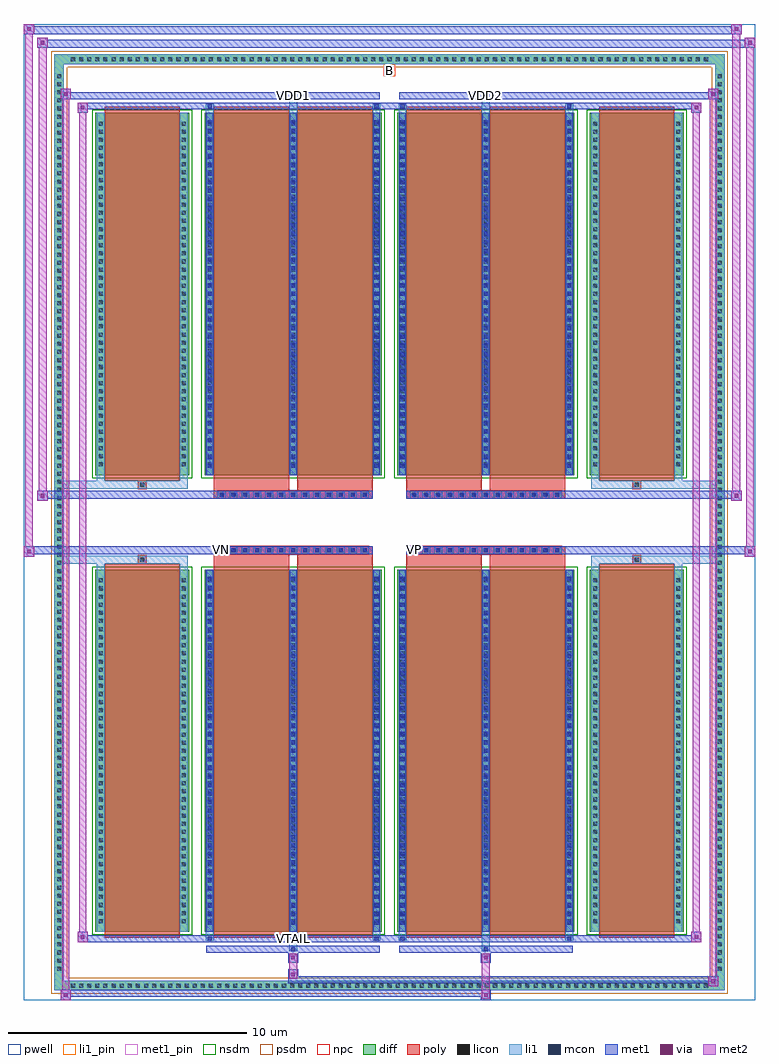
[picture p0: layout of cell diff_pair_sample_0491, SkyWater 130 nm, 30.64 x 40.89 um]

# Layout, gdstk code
import gdstk
lib = gdstk.Library(unit=1e-6, precision=5e-09)
def R(c, l, rs):  # rectangles x0, y0, x1, y1
    for r in rs: c.add(gdstk.rectangle(r[:2], r[2:], *l))
def A(c, l, x, y, w, h, nx, ny, dx, dy):  # array of equal rectangles
    R(c, l, [(x+i*dx, y+j*dy, x+i*dx+w, y+j*dy+h) for i in range(nx) for j in range(ny)])
def P(c, l, *ps):  # polygons
    for p in ps: c.add(gdstk.Polygon(p, *l))
pwell = (64, 44)
diff = (65, 20)
poly = (66, 20)
licon = (66, 44)
li1_pin = (67, 16)
li1 = (67, 20)
mcon = (67, 44)
met1_pin = (68, 16)
met1 = (68, 20)
via = (68, 44)
met2 = (69, 20)
nsdm = (93, 44)
psdm = (94, 20)
npc = (95, 20)

diff_pair_sample_0491 = lib.new_cell('diff_pair_sample_0491')
R(diff_pair_sample_0491, pwell, [(-15.32,-20.01,15.32,20.88), (-12.64,-18.2,-0.01,-0.8), (0.01,-18.2,12.64,-0.8), (-12.64,0.8,-0.01,18.2), (0.01,0.8,12.64,18.2)])
A(diff_pair_sample_0491, diff, -13.465, -19.61, 0.41, 0.41, 79, 2, 0.34, 38.81)
A(diff_pair_sample_0491, diff, -14.05, -18.905, 0.41, 0.41, 1, 111, 0, 0.34)
A(diff_pair_sample_0491, diff, 13.64, -18.905, 0.41, 0.41, 1, 111, 0, 0.34)
R(diff_pair_sample_0491, diff, [(-13.465,-19.61,13.465,-19.2), (-14.05,-18.905,-13.64,18.905), (13.64,-18.905,14.05,18.905), (-12.33,-17.155,-8.39,-1.985), (-7.75,-17.155,-0.32,-1.985), (0.32,-17.155,7.75,-1.985), (8.39,-17.155,12.33,-1.985), (-12.33,1.985,-8.39,17.155), (-7.75,1.985,-0.32,17.155), (0.32,1.985,7.75,17.155), (8.39,1.985,12.33,17.155), (-13.465,19.2,13.465,19.61)])
P(diff_pair_sample_0491, diff, [(14.05,19.61),(-14.05,19.61),(-14.05,-19.2),(-13.64,-19.2),(-13.64,19.2),(13.64,19.2),(13.64,-19.2),(-13.64,-19.2),(-14.05,-19.2),(-14.05,-19.61),(14.05,-19.61)])
A(diff_pair_sample_0491, poly, -7.2, -1.33, 0.33, 0.33, 13, 2, 0.5, 2.33)
A(diff_pair_sample_0491, poly, 0.87, -1.33, 0.33, 0.33, 13, 2, 0.5, 2.33)
R(diff_pair_sample_0491, poly, [(-11.94,-17.405,-8.78,-1.735), (-7.36,-17.405,-4.2,-1.735), (-3.87,-17.405,-0.71,-1.735), (0.71,-17.405,3.87,-1.735), (4.2,-17.405,7.36,-1.735), (8.78,-17.405,11.94,-1.735), (-10.525,-1.735,-10.195,-1.405), (-10.525,-1.735,-10.195,-1.405), (-7.36,-1.735,-4.2,-1.33), (-3.87,-1.735,-0.71,-1.33), (0.71,-1.735,3.87,-1.33), (4.2,-1.735,7.36,-1.33), (10.195,-1.735,10.525,-1.405), (10.195,-1.735,10.525,-1.405), (-7.36,-1.33,-0.71,-1), (0.71,-1.33,7.36,-1), (-7.36,1,-0.71,1.33), (0.71,1,7.36,1.33), (-7.36,1.33,-4.2,1.735), (-3.87,1.33,-0.71,1.735), (0.71,1.33,3.87,1.735), (4.2,1.33,7.36,1.735), (-10.525,1.405,-10.195,1.735), (-10.525,1.405,-10.195,1.735), (10.195,1.405,10.525,1.735), (10.195,1.405,10.525,1.735), (-11.94,1.735,-8.78,17.405), (-7.36,1.735,-4.2,17.405), (-3.87,1.735,-0.71,17.405), (0.71,1.735,3.87,17.405), (4.2,1.735,7.36,17.405), (8.78,1.735,11.94,17.405)])
A(diff_pair_sample_0491, licon, -13.345, -19.49, 0.17, 0.17, 79, 2, 0.34, 38.81)
A(diff_pair_sample_0491, licon, -13.93, -18.785, 0.17, 0.17, 1, 111, 0, 0.34)
A(diff_pair_sample_0491, licon, 13.76, -18.785, 0.17, 0.17, 1, 111, 0, 0.34)
A(diff_pair_sample_0491, licon, -12.19, -16.795, 0.17, 0.17, 1, 43, 0, 0.34)
A(diff_pair_sample_0491, licon, -8.7, -16.795, 0.17, 0.17, 1, 43, 0, 0.34)
A(diff_pair_sample_0491, licon, -7.61, -16.795, 0.17, 0.17, 3, 43, 3.49, 0.34)
A(diff_pair_sample_0491, licon, 0.46, -16.795, 0.17, 0.17, 3, 43, 3.49, 0.34)
A(diff_pair_sample_0491, licon, 8.53, -16.795, 0.17, 0.17, 1, 43, 0, 0.34)
A(diff_pair_sample_0491, licon, 12.02, -16.795, 0.17, 0.17, 1, 43, 0, 0.34)
A(diff_pair_sample_0491, licon, -7.12, -1.25, 0.17, 0.17, 13, 2, 0.5, 2.33)
A(diff_pair_sample_0491, licon, 0.95, -1.25, 0.17, 0.17, 13, 2, 0.5, 2.33)
A(diff_pair_sample_0491, licon, -12.19, 2.345, 0.17, 0.17, 1, 43, 0, 0.34)
A(diff_pair_sample_0491, licon, -8.7, 2.345, 0.17, 0.17, 1, 43, 0, 0.34)
A(diff_pair_sample_0491, licon, -7.61, 2.345, 0.17, 0.17, 3, 43, 3.49, 0.34)
A(diff_pair_sample_0491, licon, 0.46, 2.345, 0.17, 0.17, 3, 43, 3.49, 0.34)
A(diff_pair_sample_0491, licon, 8.53, 2.345, 0.17, 0.17, 1, 43, 0, 0.34)
A(diff_pair_sample_0491, licon, 12.02, 2.345, 0.17, 0.17, 1, 43, 0, 0.34)
R(diff_pair_sample_0491, licon, [(-10.445,-1.655,-10.275,-1.485), (10.275,-1.655,10.445,-1.485), (-10.445,1.485,-10.275,1.655), (10.275,1.485,10.445,1.655)])
R(diff_pair_sample_0491, li1_pin, [(-0.25,18.7,0.25,19.2)])
A(diff_pair_sample_0491, li1, -13.425, -19.57, 0.33, 0.33, 79, 2, 0.34, 38.81)
A(diff_pair_sample_0491, li1, -14.01, -18.865, 0.33, 0.33, 1, 111, 0, 0.34)
A(diff_pair_sample_0491, li1, 13.68, -18.865, 0.33, 0.33, 1, 111, 0, 0.34)
A(diff_pair_sample_0491, li1, -7.69, -17.155, 0.33, 15.17, 3, 2, 3.49, 19.14)
A(diff_pair_sample_0491, li1, 0.38, -17.155, 0.33, 15.17, 3, 2, 3.49, 19.14)
A(diff_pair_sample_0491, li1, -12.27, -16.875, 0.33, 0.33, 1, 43, 0, 0.34)
A(diff_pair_sample_0491, li1, -8.78, -16.875, 0.33, 0.33, 1, 43, 0, 0.34)
A(diff_pair_sample_0491, li1, -7.69, -16.875, 0.33, 0.33, 3, 43, 3.49, 0.34)
A(diff_pair_sample_0491, li1, 0.38, -16.875, 0.33, 0.33, 3, 43, 3.49, 0.34)
A(diff_pair_sample_0491, li1, 8.45, -16.875, 0.33, 0.33, 1, 43, 0, 0.34)
A(diff_pair_sample_0491, li1, 11.94, -16.875, 0.33, 0.33, 1, 43, 0, 0.34)
A(diff_pair_sample_0491, li1, -7.61, -16.855, 0.17, 0.17, 3, 41, 3.49, 0.36)
A(diff_pair_sample_0491, li1, -7.61, -16.855, 0.17, 14.57, 3, 2, 3.49, 19.14)
A(diff_pair_sample_0491, li1, 0.46, -16.855, 0.17, 0.17, 3, 41, 3.49, 0.36)
A(diff_pair_sample_0491, li1, 0.46, -16.855, 0.17, 14.57, 3, 2, 3.49, 19.14)
A(diff_pair_sample_0491, li1, -7.2, -1.33, 0.33, 0.33, 13, 2, 0.5, 2.33)
A(diff_pair_sample_0491, li1, 0.87, -1.33, 0.33, 0.33, 13, 2, 0.5, 2.33)
A(diff_pair_sample_0491, li1, -12.27, 2.265, 0.33, 0.33, 1, 43, 0, 0.34)
A(diff_pair_sample_0491, li1, -8.78, 2.265, 0.33, 0.33, 1, 43, 0, 0.34)
A(diff_pair_sample_0491, li1, -7.69, 2.265, 0.33, 0.33, 3, 43, 3.49, 0.34)
A(diff_pair_sample_0491, li1, 0.38, 2.265, 0.33, 0.33, 3, 43, 3.49, 0.34)
A(diff_pair_sample_0491, li1, 8.45, 2.265, 0.33, 0.33, 1, 43, 0, 0.34)
A(diff_pair_sample_0491, li1, 11.94, 2.265, 0.33, 0.33, 1, 43, 0, 0.34)
A(diff_pair_sample_0491, li1, -7.61, 2.285, 0.17, 0.17, 3, 41, 3.49, 0.36)
A(diff_pair_sample_0491, li1, 0.46, 2.285, 0.17, 0.17, 3, 41, 3.49, 0.36)
R(diff_pair_sample_0491, li1, [(-14.05,-19.61,-13.64,-19.2), (-14.05,-19.61,-13.64,-19.2), (-13.64,-19.61,13.64,-19.2), (13.64,-19.61,14.05,-19.2), (13.64,-19.61,14.05,-19.2), (-14.05,-19.2,-13.64,19.2), (13.64,-19.2,14.05,19.2), (-4.2,-17.96,-3.87,-17.155), (-4.12,-17.96,-3.95,-17.79), (3.87,-17.96,4.2,-17.155), (3.95,-17.96,4.12,-17.79), (-7.69,-17.53,-7.36,-17.155), (-7.61,-17.53,-7.44,-17.36), (-0.71,-17.53,-0.38,-17.155), (-0.63,-17.53,-0.46,-17.36), (0.38,-17.53,0.71,-17.155), (0.46,-17.53,0.63,-17.36), (7.36,-17.53,7.69,-17.155), (7.44,-17.53,7.61,-17.36), (-12.27,-17.155,-11.94,-1.985), (-8.78,-17.155,-8.45,-1.985), (8.45,-17.155,8.78,-1.985), (11.94,-17.155,12.27,-1.985), (-12.27,-1.985,-11.94,-1.405), (-8.78,-1.985,-8.45,-1.405), (8.45,-1.985,8.78,-1.405), (11.94,-1.985,12.27,-1.405), (-14.05,-1.735,-10.525,-1.405), (-12.27,-1.735,-10.525,-1.405), (-10.525,-1.735,-10.195,-1.405), (-10.195,-1.735,-8.45,-1.405), (8.45,-1.735,10.195,-1.405), (10.195,-1.735,10.525,-1.405), (10.195,-1.735,14.05,-1.405), (10.525,-1.735,12.27,-1.405), (-14.05,1.405,-10.525,1.735), (-12.27,1.405,-10.525,1.735), (-12.27,1.405,-11.94,1.985), (-10.525,1.405,-10.195,1.735), (-10.195,1.405,-8.45,1.735), (-8.78,1.405,-8.45,1.985), (8.45,1.405,10.195,1.735), (8.45,1.405,8.78,1.985), (10.195,1.405,10.525,1.735), (10.195,1.405,14.05,1.735), (10.525,1.405,12.27,1.735), (11.94,1.405,12.27,1.985), (-12.27,1.985,-11.94,17.155), (-8.78,1.985,-8.45,17.155), (8.45,1.985,8.78,17.155), (11.94,1.985,12.27,17.155), (-7.69,17.155,-7.36,17.53), (-4.2,17.155,-3.87,17.96), (-0.71,17.155,-0.38,17.53), (0.38,17.155,0.71,17.53), (3.87,17.155,4.2,17.96), (7.36,17.155,7.69,17.53), (-7.61,17.36,-7.44,17.53), (-0.63,17.36,-0.46,17.53), (0.46,17.36,0.63,17.53), (7.44,17.36,7.61,17.53), (-4.12,17.79,-3.95,17.96), (3.95,17.79,4.12,17.96), (-14.05,19.2,-13.64,19.61), (-14.05,19.2,-13.64,19.61), (-13.64,19.2,13.64,19.61), (13.64,19.2,14.05,19.61), (13.64,19.2,14.05,19.61)])
A(diff_pair_sample_0491, mcon, -7.61, -16.855, 0.17, 0.17, 3, 41, 3.49, 0.36)
A(diff_pair_sample_0491, mcon, 0.46, -16.855, 0.17, 0.17, 3, 41, 3.49, 0.36)
A(diff_pair_sample_0491, mcon, -7.12, -1.25, 0.17, 0.17, 13, 2, 0.5, 2.33)
A(diff_pair_sample_0491, mcon, 0.95, -1.25, 0.17, 0.17, 13, 2, 0.5, 2.33)
A(diff_pair_sample_0491, mcon, -7.61, 2.285, 0.17, 0.17, 3, 41, 3.49, 0.36)
A(diff_pair_sample_0491, mcon, 0.46, 2.285, 0.17, 0.17, 3, 41, 3.49, 0.36)
R(diff_pair_sample_0491, mcon, [(-4.12,-17.96,-3.95,-17.79), (3.95,-17.96,4.12,-17.79), (-7.61,-17.53,-7.44,-17.36), (-0.63,-17.53,-0.46,-17.36), (0.46,-17.53,0.63,-17.36), (7.44,-17.53,7.61,-17.36), (-7.61,17.36,-7.44,17.53), (-0.63,17.36,-0.46,17.53), (0.46,17.36,0.63,17.53), (7.44,17.36,7.61,17.53), (-4.12,17.79,-3.95,17.96), (3.95,17.79,4.12,17.96)])
R(diff_pair_sample_0491, met1_pin, [(-4.17,-17.57,-3.9,-17.3), (-7.17,-1.29,-6.9,-1.02), (0.9,-1.29,1.17,-1.02), (-4.17,17.75,-3.9,18.02), (3.9,17.75,4.17,18.02)])
A(diff_pair_sample_0491, met1, -7.67, -17.155, 0.29, 15.17, 3, 2, 3.49, 19.14)
A(diff_pair_sample_0491, met1, 0.4, -17.155, 0.29, 15.17, 3, 2, 3.49, 19.14)
A(diff_pair_sample_0491, met1, -7.67, -16.915, 0.29, 0.29, 3, 41, 3.49, 0.36)
A(diff_pair_sample_0491, met1, 0.4, -16.915, 0.29, 0.29, 3, 41, 3.49, 0.36)
A(diff_pair_sample_0491, met1, -7.18, -1.31, 0.29, 0.29, 13, 2, 0.5, 2.33)
A(diff_pair_sample_0491, met1, 0.89, -1.31, 0.29, 0.29, 13, 2, 0.5, 2.33)
A(diff_pair_sample_0491, met1, -7.67, 2.225, 0.29, 0.29, 3, 41, 3.49, 0.36)
A(diff_pair_sample_0491, met1, 0.4, 2.225, 0.29, 0.29, 3, 41, 3.49, 0.36)
R(diff_pair_sample_0491, met1, [(-13.78,-20.01,-13.35,-19.58), (3.82,-20.01,4.25,-19.58), (-13.78,-19.87,4.25,-19.58), (13.35,-19.44,13.78,-19.01), (-4.25,-19.3,13.78,-19.01), (-4.25,-19.16,-3.82,-18.73), (-4.25,-18.45,-3.82,-18.02), (3.82,-18.45,4.25,-18.02), (-7.67,-18.02,-0.4,-17.73), (-4.18,-18.02,-3.89,-17.73), (0.4,-18.02,7.67,-17.73), (3.89,-18.02,4.18,-17.73), (-13.07,-17.59,-12.64,-17.16), (-13.07,-17.59,-7.67,-17.3), (-7.67,-17.59,-7.38,-17.3), (-7.67,-17.59,-0.4,-17.3), (-0.69,-17.59,-0.4,-17.3), (-0.4,-17.59,0.4,-17.3), (0.4,-17.59,0.69,-17.3), (0.4,-17.59,7.67,-17.3), (7.38,-17.59,7.67,-17.3), (7.67,-17.59,13.07,-17.3), (12.64,-17.59,13.07,-17.16), (-15.32,-1.43,-14.89,-1), (14.89,-1.43,15.32,-1), (-15.32,-1.33,-0.71,-1), (-7.36,-1.33,-0.71,-1), (0.71,-1.33,7.36,-1), (0.71,-1.33,15.32,-1), (-14.75,0.9,-14.32,1.33), (14.32,0.9,14.75,1.33), (-14.75,1,-7.36,1.33), (-7.36,1,-0.71,1.33), (0.71,1,7.36,1.33), (7.36,1,14.75,1.33), (-13.07,17.16,-12.64,17.59), (12.64,17.16,13.07,17.59), (-13.07,17.3,-7.67,17.59), (-7.67,17.3,-7.38,17.59), (-7.67,17.3,-0.4,17.59), (-0.69,17.3,-0.4,17.59), (-0.4,17.3,0.4,17.59), (0.4,17.3,0.69,17.59), (0.4,17.3,7.67,17.59), (7.38,17.3,7.67,17.59), (7.67,17.3,13.07,17.59), (-13.78,17.73,-13.35,18.16), (-13.78,17.73,-7.67,18.02), (-7.67,17.73,-0.4,18.02), (-4.18,17.73,-3.89,18.02), (0.4,17.73,7.67,18.02), (3.89,17.73,4.18,18.02), (7.67,17.73,13.78,18.02), (13.35,17.73,13.78,18.16), (-14.75,19.88,-14.32,20.31), (-14.75,19.88,-12.64,20.21), (-12.64,19.88,12.64,20.21), (12.64,19.88,15.32,20.21), (14.89,19.88,15.32,20.31), (-15.32,20.45,-14.89,20.88), (-15.32,20.45,-12.64,20.78), (-12.64,20.45,12.64,20.78), (12.64,20.45,14.75,20.78), (14.32,20.45,14.75,20.88)])
R(diff_pair_sample_0491, via, [(-13.64,-19.87,-13.49,-19.72), (3.96,-19.87,4.11,-19.72), (13.49,-19.3,13.64,-19.15), (-4.11,-19.02,-3.96,-18.87), (-4.11,-18.31,-3.96,-18.16), (3.96,-18.31,4.11,-18.16), (-12.93,-17.45,-12.78,-17.3), (12.78,-17.45,12.93,-17.3), (-15.18,-1.29,-15.03,-1.14), (15.03,-1.29,15.18,-1.14), (-14.61,1.04,-14.46,1.19), (14.46,1.04,14.61,1.19), (-12.93,17.3,-12.78,17.45), (12.78,17.3,12.93,17.45), (-13.64,17.87,-13.49,18.02), (13.49,17.87,13.64,18.02), (-14.61,20.02,-14.46,20.17), (15.03,20.02,15.18,20.17), (-15.18,20.59,-15.03,20.74), (14.46,20.59,14.61,20.74)])
R(diff_pair_sample_0491, met2, [(-13.78,-20.01,-13.35,-19.58), (-13.71,-20.01,-13.42,18.16), (-13.42,-20.01,-13.35,-19.58), (-13.73,-19.96,-13.4,-19.63), (3.87,-19.96,4.2,-19.63), (3.87,-19.63,4.2,-18.4), (13.35,-19.44,13.78,-19.01), (13.42,-19.44,13.71,18.16), (13.71,-19.44,13.78,-19.01), (13.4,-19.39,13.73,-19.06), (-4.2,-19.11,-3.87,-18.78), (-4.2,-18.78,-3.87,-18.4), (-4.2,-18.4,-3.87,-18.07), (3.87,-18.4,4.2,-18.07), (-13.07,-17.59,-12.64,-17.16), (-13,-17.59,-12.71,17.59), (-12.71,-17.59,-12.64,-17.16), (12.64,-17.59,13.07,-17.16), (12.71,-17.59,13,17.59), (13,-17.59,13.07,-17.16), (-13.02,-17.54,-12.69,-17.21), (12.69,-17.54,13.02,-17.21), (-15.32,-1.43,-14.89,-1), (-15.27,-1.43,-14.94,20.88), (-14.94,-1.43,-14.89,-1), (14.89,-1.43,15.32,-1), (14.94,-1.43,15.27,20.31), (15.27,-1.43,15.32,-1), (-15.27,-1.38,-14.94,-1.05), (14.94,-1.38,15.27,-1.05), (-14.75,0.9,-14.32,1.33), (-14.7,0.9,-14.37,20.31), (-14.37,0.9,-14.32,1.33), (14.32,0.9,14.75,1.33), (14.37,0.9,14.7,20.88), (14.7,0.9,14.75,1.33), (-14.7,0.95,-14.37,1.28), (14.37,0.95,14.7,1.28), (-13.07,17.16,-12.64,17.59), (-12.71,17.16,-12.64,17.59), (12.64,17.16,13.07,17.59), (13,17.16,13.07,17.59), (-13.02,17.21,-12.69,17.54), (12.69,17.21,13.02,17.54), (-13.78,17.73,-13.35,18.16), (-13.42,17.73,-13.35,18.16), (13.35,17.73,13.78,18.16), (13.71,17.73,13.78,18.16), (-13.73,17.78,-13.4,18.11), (13.4,17.78,13.73,18.11), (-14.75,19.88,-14.32,20.31), (-14.37,19.88,-14.32,20.31), (14.89,19.88,15.32,20.31), (15.27,19.88,15.32,20.31), (-14.7,19.93,-14.37,20.26), (14.94,19.93,15.27,20.26), (-15.32,20.45,-14.89,20.88), (-14.94,20.45,-14.89,20.88), (14.32,20.45,14.75,20.88), (14.7,20.45,14.75,20.88), (-15.27,20.5,-14.94,20.83), (14.37,20.5,14.7,20.83)])
R(diff_pair_sample_0491, nsdm, [(-12.46,-17.285,-8.26,-1.855), (-7.88,-17.285,-0.19,-1.855), (0.19,-17.285,7.88,-1.855), (8.26,-17.285,12.46,-1.855), (-12.46,1.855,-8.26,17.285), (-7.88,1.855,-0.19,17.285), (0.19,1.855,7.88,17.285), (8.26,1.855,12.46,17.285)])
P(diff_pair_sample_0491, psdm, [(14.18,19.74),(-14.18,19.74),(-14.18,-19.07),(-13.51,-19.07),(-13.51,19.07),(13.51,19.07),(13.51,-19.07),(-13.51,-19.07),(-14.18,-19.07),(-14.18,-19.74),(14.18,-19.74)])
A(diff_pair_sample_0491, npc, -7.22, -1.35, 0.37, 0.37, 13, 2, 0.5, 2.33)
A(diff_pair_sample_0491, npc, 0.85, -1.35, 0.37, 0.37, 13, 2, 0.5, 2.33)
R(diff_pair_sample_0491, npc, [(-10.545,-1.755,-10.175,-1.385), (10.175,-1.755,10.545,-1.385), (-7.22,-1.35,-6.35,-0.98), (-7.22,-1.35,-6.35,-0.98), (-6.72,-1.35,-5.85,-0.98), (-6.72,-1.35,-5.85,-0.98), (-6.22,-1.35,-5.35,-0.98), (-6.22,-1.35,-5.35,-0.98), (-5.72,-1.35,-4.85,-0.98), (-5.72,-1.35,-4.85,-0.98), (-5.22,-1.35,-4.35,-0.98), (-5.22,-1.35,-4.35,-0.98), (-4.72,-1.35,-3.85,-0.98), (-4.72,-1.35,-3.85,-0.98), (-4.22,-1.35,-3.35,-0.98), (-4.22,-1.35,-3.35,-0.98), (-3.72,-1.35,-2.85,-0.98), (-3.72,-1.35,-2.85,-0.98), (-3.22,-1.35,-2.35,-0.98), (-3.22,-1.35,-2.35,-0.98), (-2.72,-1.35,-1.85,-0.98), (-2.72,-1.35,-1.85,-0.98), (-2.22,-1.35,-1.35,-0.98), (-2.22,-1.35,-1.35,-0.98), (-1.72,-1.35,-0.85,-0.98), (-1.72,-1.35,-0.85,-0.98), (0.85,-1.35,1.72,-0.98), (0.85,-1.35,1.72,-0.98), (1.35,-1.35,2.22,-0.98), (1.35,-1.35,2.22,-0.98), (1.85,-1.35,2.72,-0.98), (1.85,-1.35,2.72,-0.98), (2.35,-1.35,3.22,-0.98), (2.35,-1.35,3.22,-0.98), (2.85,-1.35,3.72,-0.98), (2.85,-1.35,3.72,-0.98), (3.35,-1.35,4.22,-0.98), (3.35,-1.35,4.22,-0.98), (3.85,-1.35,4.72,-0.98), (3.85,-1.35,4.72,-0.98), (4.35,-1.35,5.22,-0.98), (4.35,-1.35,5.22,-0.98), (4.85,-1.35,5.72,-0.98), (4.85,-1.35,5.72,-0.98), (5.35,-1.35,6.22,-0.98), (5.35,-1.35,6.22,-0.98), (5.85,-1.35,6.72,-0.98), (5.85,-1.35,6.72,-0.98), (6.35,-1.35,7.22,-0.98), (6.35,-1.35,7.22,-0.98), (-7.22,0.98,-6.35,1.35), (-7.22,0.98,-6.35,1.35), (-6.72,0.98,-5.85,1.35), (-6.72,0.98,-5.85,1.35), (-6.22,0.98,-5.35,1.35), (-6.22,0.98,-5.35,1.35), (-5.72,0.98,-4.85,1.35), (-5.72,0.98,-4.85,1.35), (-5.22,0.98,-4.35,1.35), (-5.22,0.98,-4.35,1.35), (-4.72,0.98,-3.85,1.35), (-4.72,0.98,-3.85,1.35), (-4.22,0.98,-3.35,1.35), (-4.22,0.98,-3.35,1.35), (-3.72,0.98,-2.85,1.35), (-3.72,0.98,-2.85,1.35), (-3.22,0.98,-2.35,1.35), (-3.22,0.98,-2.35,1.35), (-2.72,0.98,-1.85,1.35), (-2.72,0.98,-1.85,1.35), (-2.22,0.98,-1.35,1.35), (-2.22,0.98,-1.35,1.35), (-1.72,0.98,-0.85,1.35), (-1.72,0.98,-0.85,1.35), (0.85,0.98,1.72,1.35), (0.85,0.98,1.72,1.35), (1.35,0.98,2.22,1.35), (1.35,0.98,2.22,1.35), (1.85,0.98,2.72,1.35), (1.85,0.98,2.72,1.35), (2.35,0.98,3.22,1.35), (2.35,0.98,3.22,1.35), (2.85,0.98,3.72,1.35), (2.85,0.98,3.72,1.35), (3.35,0.98,4.22,1.35), (3.35,0.98,4.22,1.35), (3.85,0.98,4.72,1.35), (3.85,0.98,4.72,1.35), (4.35,0.98,5.22,1.35), (4.35,0.98,5.22,1.35), (4.85,0.98,5.72,1.35), (4.85,0.98,5.72,1.35), (5.35,0.98,6.22,1.35), (5.35,0.98,6.22,1.35), (5.85,0.98,6.72,1.35), (5.85,0.98,6.72,1.35), (6.35,0.98,7.22,1.35), (6.35,0.98,7.22,1.35), (-10.545,1.385,-10.175,1.755), (10.175,1.385,10.545,1.755)])
diff_pair_sample_0491.add(gdstk.Label('VTAIL', (-4.035,-17.435), layer=68, texttype=5))
diff_pair_sample_0491.add(gdstk.Label('VN', (-7.035,-1.155), layer=68, texttype=5))
diff_pair_sample_0491.add(gdstk.Label('VP', (1.035,-1.155), layer=68, texttype=5))
diff_pair_sample_0491.add(gdstk.Label('B', (0,18.95), layer=67, texttype=5))
diff_pair_sample_0491.add(gdstk.Label('VDD2', (4.035,17.885), layer=68, texttype=5))
diff_pair_sample_0491.add(gdstk.Label('VDD1', (-4.035,17.885), layer=68, texttype=5))

lib.write_gds('diff_pair_sample_0491.gds')
